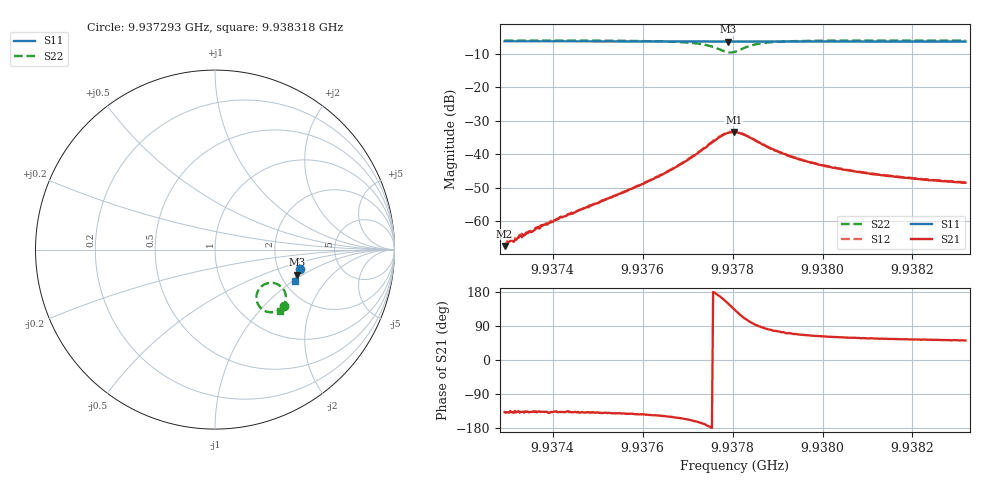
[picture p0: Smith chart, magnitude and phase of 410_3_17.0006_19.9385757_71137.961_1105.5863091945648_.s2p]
#  HZ  S  RI  R  50.00
! Rohde & Schwarz Vector Network Analyzer
! Rohde-Schwarz,ZNB20-2Port,1311601062101988,3.16
! Created: UTC 3/20/2024, 11:10:25 PM
! freq[Hz]  re:S11  im:S11  re:S21  im:S21  re:S12  im:S12  re:S22  im:S22
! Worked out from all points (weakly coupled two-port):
!   401 points, 9.937293 GHz to 9.938318 GHz, reference 50 ohm
!   highest |S21| = -33.36 dB at 9.937803 GHz (marker M1); lowest = -67.4 dB at 9.937293 GHz (marker M2)
!   lowest |S11| = -6.4 dB at 9.93779 GHz (marker M3), VSWR 2.84, Z = 123 - j44.6 ohm
!   |S11| at or under -10 dB: nowhere
!   |S22| runs from -9.6 to -6.1 dB; largest |S21 - S12| = 0.00081
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9.9372931e9  0.4713 -0.108  -0.000313 -0.000287  -0.000325 -0.000298  0.3847 -0.3161
9.9373059e9  0.4711 -0.1088  -0.000354 -0.000361  -0.000395 -0.00031  0.3836 -0.3173
9.9373187e9  0.4708 -0.1097  -0.000392 -0.000346  -0.000398 -0.000349  0.3829 -0.3181
9.9373315e9  0.4706 -0.1105  -0.000417 -0.00039  -0.000504 -0.000403  0.3817 -0.319
9.9373392e9  0.4703 -0.111  -0.000461 -0.000457  -0.000445 -0.000435  0.3813 -0.3196
9.9373802e9  0.4696 -0.1139  -0.000647 -0.000607  -0.000653 -0.000589  0.378 -0.3225
9.9374647e9  0.4678 -0.1195  -0.0011 -0.00102  -0.00115 -0.000983  0.3695 -0.3292
9.937562e9  0.4657 -0.126  -0.0022 -0.00169  -0.00221 -0.0017  0.3554 -0.3386
9.9376363e9  0.4637 -0.1309  -0.00385 -0.00255  -0.00403 -0.00254  0.3372 -0.3462
9.9376901e9  0.4621 -0.1347  -0.00669 -0.00319  -0.00687 -0.00311  0.3117 -0.3495
9.9377362e9  0.4605 -0.1377  -0.0119 -0.00233  -0.0121 -0.00207  0.2701 -0.3374
9.9377669e9  0.459 -0.1393  -0.0169 0.0025  -0.0172 0.00292  0.2349 -0.2934
9.93779e9  0.4581 -0.1398  -0.0178 0.0108  -0.0177 0.0114  0.2404 -0.2286
9.9378028e9  0.4581 -0.1401  -0.015 0.0153  -0.0147 0.016  0.2691 -0.1977
9.9378054e9  0.4581 -0.14  -0.014 0.016  -0.0139 0.0168  0.2765 -0.1935
9.9378258e9  0.4585 -0.1409  -0.00667 0.0182  -0.00651 0.0187  0.3356 -0.1883
9.9378591e9  0.4586 -0.1432  0.000355 0.015  0.000646 0.0149  0.3844 -0.227
9.9379155e9  0.4577 -0.1474  0.00304 0.00954  0.00323 0.00951  0.3953 -0.2752
9.937977e9  0.4562 -0.1518  0.00323 0.00665  0.00335 0.00665  0.3892 -0.3002
9.9380512e9  0.4542 -0.1567  0.00297 0.00499  0.00309 0.00503  0.3811 -0.3162
9.9381486e9  0.4518 -0.1631  0.00267 0.00386  0.00277 0.00387  0.3724 -0.3289
9.9383176e9  0.4469 -0.1738  0.00232 0.00292  0.00237 0.00296  0.3598 -0.3433
